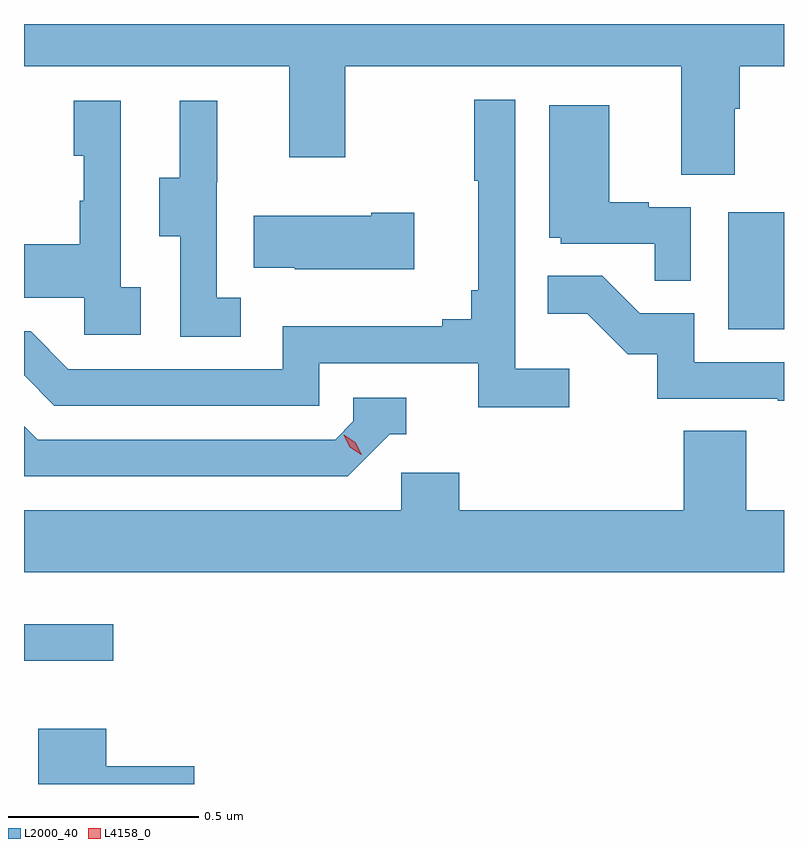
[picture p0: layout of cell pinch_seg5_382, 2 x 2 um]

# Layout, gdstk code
import gdstk
lib = gdstk.Library(unit=1e-6, precision=1e-09)
def R(c, l, rs):  # rectangles x0, y0, x1, y1
    for r in rs: c.add(gdstk.rectangle(r[:2], r[2:], *l))
def P(c, l, *ps):  # polygons
    for p in ps: c.add(gdstk.Polygon(p, *l))
L2000_40 = (2000, 40)
L4158_0 = (4158, 0)

pinch_seg5_382 = lib.new_cell('pinch_seg5_382')
R(pinch_seg5_382, L2000_40, [(951.165,876.507,951.4,876.604), (953.018,877.38,953.165,877.687)])
P(pinch_seg5_382, L2000_40, [(951.165,878.072),(951.863,878.072),(951.863,877.833),(952.011,877.833),(952.011,878.072),(952.895,878.072),(952.895,877.786),(953.035,877.786),(953.035,877.96),(953.048,877.96),(953.048,878.072),(953.165,878.072),(953.165,878.183),(951.165,878.183)],
  [(952.6,877.276),(952.458,877.276),(952.458,877.984),(952.35,877.984),(952.35,877.771),(952.361,877.771),(952.361,877.483),(952.342,877.483),(952.342,877.406),(952.265,877.406),(952.265,877.387),(951.846,877.387),(951.846,877.275),(951.282,877.275),(951.183,877.374),(951.165,877.374),(951.165,877.259),(951.245,877.179),(951.942,877.179),(951.942,877.29),(952.361,877.29),(952.361,877.174),(952.6,877.174)],
  [(951.736,877.463),(951.672,877.463),(951.672,877.767),(951.674,877.767),(951.674,877.981),(951.575,877.981),(951.575,877.779),(951.521,877.779),(951.521,877.624),(951.576,877.624),(951.576,877.36),(951.736,877.36)],
  [(951.472,877.49),(951.42,877.49),(951.42,877.981),(951.296,877.981),(951.296,877.836),(951.322,877.836),(951.322,877.718),(951.312,877.718),(951.312,877.603),(951.165,877.603),(951.165,877.463),(951.324,877.463),(951.324,877.365),(951.472,877.365)],
  [(952.92,877.701),(952.809,877.701),(952.809,877.714),(952.705,877.714),(952.705,877.969),(952.547,877.969),(952.547,877.62),(952.578,877.62),(952.578,877.605),(952.825,877.605),(952.825,877.507),(952.92,877.507)],
  [(952.192,877.686),(952.079,877.686),(952.079,877.678),(951.769,877.678),(951.769,877.541),(951.877,877.541),(951.877,877.538),(952.192,877.538)],
  [(953.165,877.293),(952.929,877.293),(952.929,877.422),(952.785,877.422),(952.687,877.52),(952.543,877.52),(952.543,877.421),(952.647,877.421),(952.754,877.314),(952.831,877.314),(952.831,877.197),(953.149,877.197),(953.149,877.192),(953.165,877.192)],
  [(952.128,877.104),(952.171,877.104),(952.171,877.2),(952.032,877.2),(952.032,877.137),(951.984,877.089),(951.201,877.089),(951.165,877.125),(951.165,876.993),(952.017,876.993)],
  [(953.165,876.904),(953.066,876.904),(953.066,877.112),(952.901,877.112),(952.901,876.904),(952.31,876.904),(952.31,877.002),(952.158,877.002),(952.158,876.904),(951.165,876.904),(951.165,876.74),(953.165,876.74)],
  [(951.613,876.23),(951.382,876.23),(951.382,876.328),(951.203,876.328),(951.203,876.183),(951.613,876.183)])
P(pinch_seg5_382, L4158_0, [(952.053,877.049),(952.022,877.069),(952.006,877.101),(952.006,877.102),(952.006,877.102),(952.037,877.082),(952.054,877.049),(952.054,877.049)])

lib.write_gds('pinch_seg5_382.gds')
